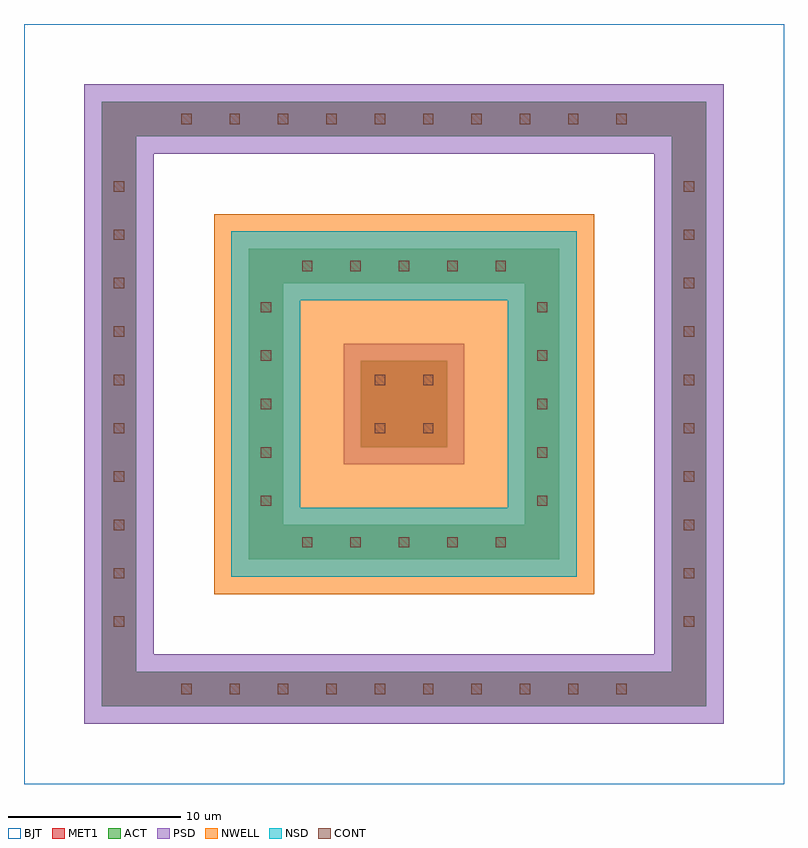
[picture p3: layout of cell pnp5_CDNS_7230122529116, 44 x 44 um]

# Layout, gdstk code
from math import pi, radians
import gdstk
lib = gdstk.Library(unit=1e-6, precision=1e-09)
def R(c, l, rs):  # rectangles x0, y0, x1, y1
    for r in rs: c.add(gdstk.rectangle(r[:2], r[2:], *l))
def A(c, l, x, y, w, h, nx, ny, dx, dy):  # array of equal rectangles
    R(c, l, [(x+i*dx, y+j*dy, x+i*dx+w, y+j*dy+h) for i in range(nx) for j in range(ny)])
def P(c, l, *ps):  # polygons
    for p in ps: c.add(gdstk.Polygon(p, *l))
NWELL = (2, 0)
ACT = (11, 0)
NSD = (14, 0)
PSD = (15, 0)
CONT = (31, 0)
MET1 = (32, 0)
BJT = (56, 0)

ntap_cdns_7230122529117 = lib.new_cell('ntap_CDNS_7230122529117')
R(ntap_cdns_7230122529117, ACT, [(0.5,0.5,2.3,14.3)])
A(ntap_cdns_7230122529117, CONT, 1.1, 1.5, 0.6, 0.6, 1, 5, 0, 2.8)
R(ntap_cdns_7230122529117, MET1, [(0.4,0.4,2.4,14.4)])

ptap_cdns_7230122529118 = lib.new_cell('ptap_CDNS_7230122529118')
R(ptap_cdns_7230122529118, ACT, [(0.5,0.5,2.3,29.3)])
A(ptap_cdns_7230122529118, CONT, 1.1, 2, 0.6, 0.6, 1, 10, 0, 2.8)
R(ptap_cdns_7230122529118, MET1, [(0.4,0.4,2.4,29.4)])

ptap_cdns_7230122529119 = lib.new_cell('ptap_CDNS_7230122529119')
R(ptap_cdns_7230122529119, ACT, [(0.5,0.5,5.3,5.3)])
R(ptap_cdns_7230122529119, CONT, [(1.2,1.2,1.8,1.8), (4,1.2,4.6,1.8), (1.2,4,1.8,4.6), (4,4,4.6,4.6)])
R(ptap_cdns_7230122529119, MET1, [(0.4,0.4,5.4,5.4)])

pnp5_cdns_7230122529116 = lib.new_cell('pnp5_CDNS_7230122529116')
R(pnp5_cdns_7230122529116, NWELL, [(11,11,33,33)])
R(pnp5_cdns_7230122529116, ACT, [(19.5,19.5,24.5,24.5)])
P(pnp5_cdns_7230122529116, ACT, [(13,13),(13,27.83),(15,27.83),(15,15),(29,15),(29,29),(15,29),(15,27.83),(13,27.83),(13,31),(31,31),(31,13)],
  [(4.5,4.5),(4.5,31.21),(6.5,31.21),(6.5,6.5),(37.5,6.5),(37.5,37.5),(6.5,37.5),(6.5,31.21),(4.5,31.21),(4.5,39.5),(39.5,39.5),(39.5,4.5)])
P(pnp5_cdns_7230122529116, NSD, [(12,12),(12,32),(28,32),(28,28),(16,28),(16,16),(28,16),(28,32),(32,32),(32,12)])
R(pnp5_cdns_7230122529116, PSD, [(18.5,18.5,25.5,25.5)])
P(pnp5_cdns_7230122529116, PSD, [(3.5,3.5),(3.5,40.5),(36.5,40.5),(36.5,36.5),(7.5,36.5),(7.5,7.5),(36.5,7.5),(36.5,40.5),(40.5,40.5),(40.5,3.5)])
R(pnp5_cdns_7230122529116, MET1, [(19.5,19.5,24.5,24.5)])
P(pnp5_cdns_7230122529116, MET1, [(13,13),(13,31),(29,31),(29,29),(15,29),(15,15),(29,15),(29,31),(31,31),(31,13)],
  [(4.5,4.5),(4.5,39.5),(37.5,39.5),(37.5,37.5),(6.5,37.5),(6.5,6.5),(37.5,6.5),(37.5,39.5),(39.5,39.5),(39.5,4.5)])
R(pnp5_cdns_7230122529116, BJT, [(0,0,44,44)])
pnp5_cdns_7230122529116.add(gdstk.Reference(ntap_cdns_7230122529117, (12.6,14.6)))
pnp5_cdns_7230122529116.add(gdstk.Reference(ntap_cdns_7230122529117, (14.6,28.6), rotation=pi/2, x_reflection=True))
pnp5_cdns_7230122529116.add(gdstk.Reference(ntap_cdns_7230122529117, (14.6,12.6), rotation=pi/2, x_reflection=True))
pnp5_cdns_7230122529116.add(gdstk.Reference(ntap_cdns_7230122529117, (28.6,14.6)))
pnp5_cdns_7230122529116.add(gdstk.Reference(ptap_cdns_7230122529118, (37.1,7.1)))
pnp5_cdns_7230122529116.add(gdstk.Reference(ptap_cdns_7230122529118, (7.1,37.1), rotation=pi/2, x_reflection=True))
pnp5_cdns_7230122529116.add(gdstk.Reference(ptap_cdns_7230122529118, (4.1,7.1)))
pnp5_cdns_7230122529116.add(gdstk.Reference(ptap_cdns_7230122529118, (7.1,4.1), rotation=pi/2, x_reflection=True))
pnp5_cdns_7230122529116.add(gdstk.Reference(ptap_cdns_7230122529119, (19.1,19.1)))

lib.write_gds('pnp5_CDNS_7230122529116.gds')
